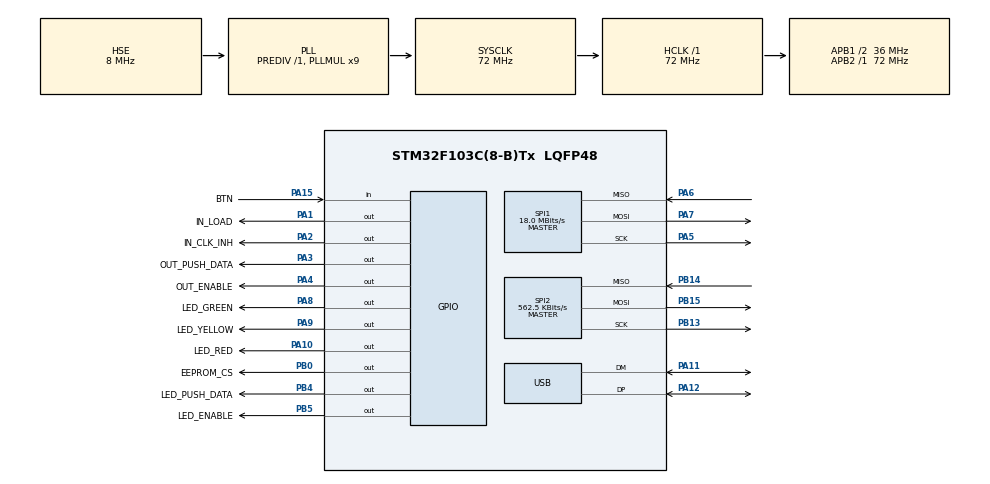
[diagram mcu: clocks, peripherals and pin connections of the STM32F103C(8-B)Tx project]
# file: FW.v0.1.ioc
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FREERTOS.Tasks01=defaultTask,24,256,StartDefaultTask,Default,NULL,Dynamic,NULL,NULL
FREERTOS.configMINIMAL_STACK_SIZE=64
FREERTOS.configTOTAL_HEAP_SIZE=8192
Mcu.Family=STM32F1
Mcu.Name=STM32F103C(8-B)Tx
Mcu.Package=LQFP48
NVIC.PriorityGroup=NVIC_PRIORITYGROUP_4
NVIC.TIM4_IRQn=true\:0\:0\:false\:false\:true\:false\:false\:true
NVIC.TimeBase=TIM4_IRQn
NVIC.TimeBaseIP=TIM4
NVIC.USB_LP_CAN1_RX0_IRQn=true\:5\:0\:false\:false\:true\:true\:false\:true
PA1.GPIO_Label=IN_LOAD
PA1.Signal=GPIO_Output
PA10.GPIO_Label=LED_RED
PA10.Signal=GPIO_Output
PA11.Mode=Device
PA11.Signal=USB_DM
PA12.Mode=Device
PA12.Signal=USB_DP
PA13.Mode=Trace_Asynchronous_SW
PA13.Signal=SYS_JTMS-SWDIO
PA14.Mode=Trace_Asynchronous_SW
PA14.Signal=SYS_JTCK-SWCLK
PA15.GPIO_Label=BTN
PA15.Signal=GPIO_Input
PA2.GPIO_Label=IN_CLK_INH
PA2.Signal=GPIO_Output
PA3.GPIO_Label=OUT_PUSH_DATA
PA3.Signal=GPIO_Output
PA4.GPIO_Label=OUT_ENABLE
PA4.PinState=GPIO_PIN_SET
PA4.Signal=GPIO_Output
PA5.Mode=Full_Duplex_Master
PA5.Signal=SPI1_SCK
PA6.Mode=Full_Duplex_Master
PA6.Signal=SPI1_MISO
PA7.Mode=Full_Duplex_Master
PA7.Signal=SPI1_MOSI
PA8.GPIO_Label=LED_GREEN
PA8.Signal=GPIO_Output
PA9.GPIO_Label=LED_YELLOW
PA9.Signal=GPIO_Output
PB0.GPIO_Label=EEPROM_CS
PB0.Signal=GPIO_Output
PB13.Mode=Full_Duplex_Master
PB13.Signal=SPI2_SCK
PB14.Mode=Full_Duplex_Master
PB14.Signal=SPI2_MISO
PB15.Mode=Full_Duplex_Master
PB15.Signal=SPI2_MOSI
PB3.Mode=Trace_Asynchronous_SW
PB3.Signal=SYS_JTDO-TRACESWO
PB4.GPIO_Label=LED_PUSH_DATA
PB4.Signal=GPIO_Output
PB5.GPIO_Label=LED_ENABLE
PB5.PinState=GPIO_PIN_SET
PB5.Signal=GPIO_Output
PD0-OSC_IN.Mode=HSE-External-Oscillator
PD0-OSC_IN.Signal=RCC_OSC_IN
PD1-OSC_OUT.Mode=HSE-External-Oscillator
PD1-OSC_OUT.Signal=RCC_OSC_OUT
ProjectManager.HeapSize=0x200
ProjectManager.StackSize=0x400
ProjectManager.TargetToolchain=STM32CubeIDE
RCC.AHBFreq_Value=72000000
RCC.APB1CLKDivider=RCC_HCLK_DIV2
RCC.APB1Freq_Value=36000000
RCC.APB1TimFreq_Value=72000000
RCC.APB2Freq_Value=72000000
RCC.APB2TimFreq_Value=72000000
RCC.HCLKFreq_Value=72000000
RCC.PLLMUL=RCC_PLL_MUL9
RCC.PLLSourceVirtual=RCC_PLLSOURCE_HSE
RCC.RTCClockSelection=RCC_RTCCLKSOURCE_HSE_DIV128
RCC.SYSCLKFreq_VALUE=72000000
RCC.SYSCLKSource=RCC_SYSCLKSOURCE_PLLCLK
RCC.USBFreq_Value=48000000
RCC.USBPrescaler=RCC_USBCLKSOURCE_PLL_DIV1_5
SPI1.BaudRatePrescaler=SPI_BAUDRATEPRESCALER_4
SPI1.CalculateBaudRate=18.0 MBits/s
SPI1.Direction=SPI_DIRECTION_2LINES
SPI1.Mode=SPI_MODE_MASTER
SPI1.VirtualType=VM_MASTER
SPI2.BaudRatePrescaler=SPI_BAUDRATEPRESCALER_64
SPI2.CalculateBaudRate=562.5 KBits/s
SPI2.Direction=SPI_DIRECTION_2LINES
SPI2.Mode=SPI_MODE_MASTER
SPI2.VirtualType=VM_MASTER
USB_DEVICE.CLASS_NAME_FS=CDC
USB_DEVICE.VirtualMode=Cdc
USB_DEVICE.VirtualModeFS=Cdc_FS
VP_FREERTOS_VS_CMSIS_V2.Mode=CMSIS_V2
VP_RTC_VS_RTC_Activate.Mode=RTC_Enabled
VP_SYS_VS_tim4.Mode=TIM4
VP_USB_DEVICE_VS_USB_DEVICE_CDC_FS.Mode=CDC_FS
board=custom

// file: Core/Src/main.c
/* USER CODE BEGIN Header */
/**
  ******************************************************************************
  * @file           : main.c
  * @brief          : Main program body
  ******************************************************************************
  * @attention
  *
  * <h2><center>&copy; Copyright (c) 2020 STMicroelectronics.
  * All rights reserved.</center></h2>
  *
  * This software component is licensed by ST under BSD 3-Clause license,
  * the "License"; You may not use this file except in compliance with the
  * License. You may obtain a copy of the License at:
  *                        opensource.org/licenses/BSD-3-Clause
  *
  ******************************************************************************
  */
/* USER CODE END Header */
#include "main.h"
#include "cmsis_os.h"
#include "rtc.h"
#include "spi.h"
#include "usb_device.h"
#include "gpio.h"

/* USER CODE BEGIN Includes */
#include "stdio.h"
/* USER CODE END Includes */

void SystemClock_Config(void);
void MX_FREERTOS_Init(void);
/* USER CODE BEGIN PFP */
#ifdef DEBUG
int _write(int file, char *ptr, int len)
{
  /* Implement your write code here, this is used by puts and printf for example */
  int i=0;
  for(i=0 ; i<len ; i++)
    ITM_SendChar((*ptr++));
  return len;
}
#endif
/* USER CODE END PFP */

/* USER CODE BEGIN 0 */

void SendData(SPI_HandleTypeDef * hspi, uint16_t data, uint8_t leds, uint8_t ports) {
	if (leds) HAL_GPIO_WritePin(LED_ENABLE_GPIO_Port, LED_ENABLE_Pin, GPIO_PIN_RESET);
	if (ports) HAL_GPIO_WritePin(OUT_ENABLE_GPIO_Port, OUT_ENABLE_Pin, GPIO_PIN_RESET);
	HAL_SPI_Transmit(hspi, (uint8_t *) &data, 2, 50);
	if (leds) {
		HAL_GPIO_WritePin(LED_PUSH_DATA_GPIO_Port, LED_PUSH_DATA_Pin, GPIO_PIN_RESET);
		HAL_GPIO_WritePin(LED_PUSH_DATA_GPIO_Port, LED_PUSH_DATA_Pin, GPIO_PIN_SET);
//		HAL_GPIO_WritePin(LED_ENABLE_GPIO_Port, LED_ENABLE_Pin, GPIO_PIN_SET);
	}
//	if (ports) HAL_GPIO_WritePin(OUT_ENABLE_GPIO_Port, OUT_ENABLE_Pin, GPIO_PIN_SET);
}

void LedsWalk(SPI_HandleTypeDef * hspi) {
	uint16_t data = 0;
	for(int i = 0; i<16; i++){
		data += 1 << i;
		SendData(hspi, data, 1, 0);
		//osDelay(25);
		HAL_Delay(15);
	}
	HAL_Delay(100);
	for(int i = 0; i<16; i++){
		data &= ~(1 << i);
		SendData(hspi, data, 1, 0);
		//osDelay(25);
		HAL_Delay(15);
	}
}
void ledsStartCheck(void){
	HAL_GPIO_TogglePin(LED_GREEN_GPIO_Port, LED_GREEN_Pin);
	HAL_Delay(25);
	HAL_GPIO_TogglePin(LED_YELLOW_GPIO_Port, LED_YELLOW_Pin);
	HAL_Delay(25);
	HAL_GPIO_TogglePin(LED_RED_GPIO_Port, LED_RED_Pin);
	HAL_Delay(25);
	LedsWalk(&hspi2);
	HAL_Delay(25);
	HAL_GPIO_TogglePin(LED_GREEN_GPIO_Port, LED_GREEN_Pin);
	HAL_Delay(25);
	HAL_GPIO_TogglePin(LED_YELLOW_GPIO_Port, LED_YELLOW_Pin);
	HAL_Delay(25);
	HAL_GPIO_TogglePin(LED_RED_GPIO_Port, LED_RED_Pin);
}

/* USER CODE END 0 */

int main(void)
{

  /* MCU Configuration--------------------------------------------------------*/

  /* Reset of all peripherals, Initializes the Flash interface and the Systick. */
  HAL_Init();

  /* Configure the system clock */
  SystemClock_Config();

  /* Initialize all configured peripherals */
  MX_GPIO_Init();
  MX_SPI1_Init();
  MX_SPI2_Init();
  MX_RTC_Init();
  /* USER CODE BEGIN 2 */
  ledsStartCheck();
  //printf("test\n");

  /* USER CODE END 2 */

  /* Init scheduler */
  osKernelInitialize();  /* Call init function for freertos objects (in freertos.c) */
  MX_FREERTOS_Init();
  /* Start scheduler */
  osKernelStart();

  /* We should never get here as control is now taken by the scheduler */
  /* Infinite loop */
  while (1)
  {

  }
}

void SystemClock_Config(void)
{
  RCC_OscInitTypeDef RCC_OscInitStruct = {0};
  RCC_ClkInitTypeDef RCC_ClkInitStruct = {0};
  RCC_PeriphCLKInitTypeDef PeriphClkInit = {0};

  /** Initializes the RCC Oscillators according to the specified parameters
  * in the RCC_OscInitTypeDef structure.
  */
  RCC_OscInitStruct.OscillatorType = RCC_OSCILLATORTYPE_HSE;
  RCC_OscInitStruct.HSEState = RCC_HSE_ON;
  RCC_OscInitStruct.HSEPredivValue = RCC_HSE_PREDIV_DIV1;
  RCC_OscInitStruct.HSIState = RCC_HSI_ON;
  RCC_OscInitStruct.PLL.PLLState = RCC_PLL_ON;
  RCC_OscInitStruct.PLL.PLLSource = RCC_PLLSOURCE_HSE;
  RCC_OscInitStruct.PLL.PLLMUL = RCC_PLL_MUL9;
  if (HAL_RCC_OscConfig(&RCC_OscInitStruct) != HAL_OK)
  {
    Error_Handler();
  }
  /** Initializes the CPU, AHB and APB buses clocks
  */
  RCC_ClkInitStruct.ClockType = RCC_CLOCKTYPE_HCLK|RCC_CLOCKTYPE_SYSCLK
                              |RCC_CLOCKTYPE_PCLK1|RCC_CLOCKTYPE_PCLK2;
  RCC_ClkInitStruct.SYSCLKSource = RCC_SYSCLKSOURCE_PLLCLK;
  RCC_ClkInitStruct.AHBCLKDivider = RCC_SYSCLK_DIV1;
  RCC_ClkInitStruct.APB1CLKDivider = RCC_HCLK_DIV2;
  RCC_ClkInitStruct.APB2CLKDivider = RCC_HCLK_DIV1;

  if (HAL_RCC_ClockConfig(&RCC_ClkInitStruct, FLASH_LATENCY_2) != HAL_OK)
  {
    Error_Handler();
  }
  PeriphClkInit.PeriphClockSelection = RCC_PERIPHCLK_RTC|RCC_PERIPHCLK_USB;
  PeriphClkInit.RTCClockSelection = RCC_RTCCLKSOURCE_HSE_DIV128;
  PeriphClkInit.UsbClockSelection = RCC_USBCLKSOURCE_PLL_DIV1_5;
  if (HAL_RCCEx_PeriphCLKConfig(&PeriphClkInit) != HAL_OK)
  {
    Error_Handler();
  }
}

 /**
  * @brief  Period elapsed callback in non blocking mode
  * @note   This function is called  when TIM4 interrupt took place, inside
  * HAL_TIM_IRQHandler(). It makes a direct call to HAL_IncTick() to increment
  * a global variable "uwTick" used as application time base.
  * @param  htim : TIM handle
  * @retval None
  */
void HAL_TIM_PeriodElapsedCallback(TIM_HandleTypeDef *htim)
{
  if (htim->Instance == TIM4) {
    HAL_IncTick();
  }
}

void Error_Handler(void)
{
  __disable_irq();
  while (1)
  {
  }
}

/************************ (C) COPYRIGHT STMicroelectronics *****END OF FILE****/

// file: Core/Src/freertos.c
/* USER CODE BEGIN Header */
/**
  ******************************************************************************
  * File Name          : freertos.c
  * Description        : Code for freertos applications
  ******************************************************************************
  * @attention
  *
  * <h2><center>&copy; Copyright (c) 2020 STMicroelectronics.
  * All rights reserved.</center></h2>
  *
  * This software component is licensed by ST under Ultimate Liberty license
  * SLA0044, the "License"; You may not use this file except in compliance with
  * the License. You may obtain a copy of the License at:
  *                             www.st.com/SLA0044
  *
  ******************************************************************************
  */
/* USER CODE END Header */

#include "FreeRTOS.h"
#include "task.h"
#include "main.h"
#include "cmsis_os.h"

/* USER CODE BEGIN Includes */
#include "cons.h"
#include "config.h"
#include "io.h"

/* USER CODE END Includes */

/* Definitions for defaultTask */
osThreadId_t defaultTaskHandle;
const osThreadAttr_t defaultTask_attributes = {
  .name = "defaultTask",
  .priority = (osPriority_t) osPriorityNormal,
  .stack_size = 256 * 4
};

void StartDefaultTask(void *argument);

extern void MX_USB_DEVICE_Init(void);
void MX_FREERTOS_Init(void); /* (MISRA C 2004 rule 8.1) */

void MX_FREERTOS_Init(void) {

  /* Create the thread(s) */
  /* creation of defaultTask */
  defaultTaskHandle = osThreadNew(StartDefaultTask, NULL, &defaultTask_attributes);

}

void StartDefaultTask(void *argument)
{
  /* init code for USB_DEVICE */
  MX_USB_DEVICE_Init();
  /* USER CODE BEGIN StartDefaultTask */
  loadFromFlash();
  consInit();
  initIO();
  /* Infinite loop */
  int i = 40;
  int btn = 1;
  for(;;)
  {
	  if (--i == 0) {
		  HAL_GPIO_TogglePin(LED_GREEN_GPIO_Port, LED_GREEN_Pin);
		  osDelay(50);
		  HAL_GPIO_TogglePin(LED_GREEN_GPIO_Port, LED_GREEN_Pin);
		  i = 40;
	  }
	btn = HAL_GPIO_ReadPin(BTN_GPIO_Port, BTN_Pin);
    osDelay(50);
    if (btn == 0 && HAL_GPIO_ReadPin(BTN_GPIO_Port, BTN_Pin) == 0){
    	HAL_GPIO_WritePin(LED_RED_GPIO_Port, LED_RED_Pin, GPIO_PIN_SET);
    	osDelay(250);
    	HAL_GPIO_TogglePin(LED_RED_GPIO_Port, LED_RED_Pin);
    	osDelay(250);
    	HAL_GPIO_TogglePin(LED_RED_GPIO_Port, LED_RED_Pin);
    	osDelay(250);
    	HAL_GPIO_TogglePin(LED_RED_GPIO_Port, LED_RED_Pin);
    	osDelay(250);
    	HAL_GPIO_TogglePin(LED_RED_GPIO_Port, LED_RED_Pin);
    	osDelay(250);
    	HAL_GPIO_TogglePin(LED_RED_GPIO_Port, LED_RED_Pin);
    	//osDelay(25);
    	btn = 1;
    }
  }
  /* USER CODE END StartDefaultTask */
}

/************************ (C) COPYRIGHT STMicroelectronics *****END OF FILE****/
